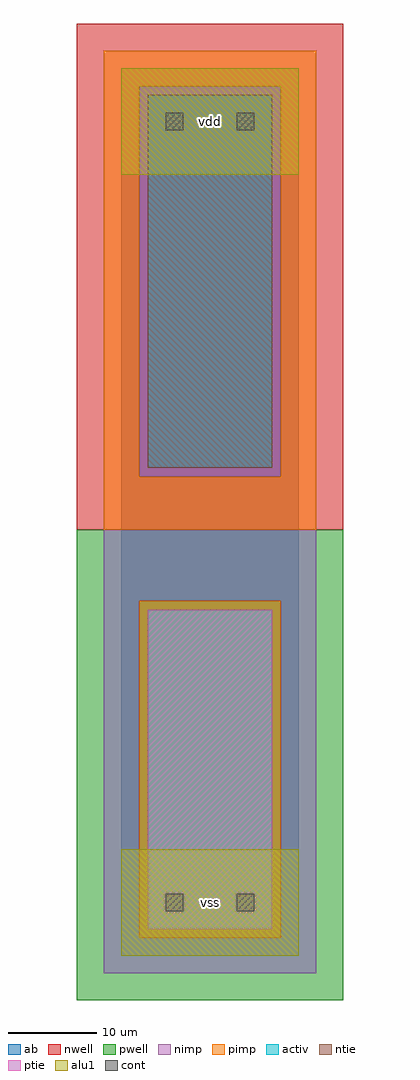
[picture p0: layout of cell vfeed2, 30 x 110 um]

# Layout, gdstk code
import gdstk
lib = gdstk.Library(unit=1e-6, precision=1e-09)
def R(c, l, rs):  # rectangles x0, y0, x1, y1
    for r in rs: c.add(gdstk.rectangle(r[:2], r[2:], *l))
ntie = (5, 0)
ptie = (6, 0)
cont = (25, 0)
pwell = (41, 0)
nwell = (42, 0)
activ = (43, 0)
pimp = (44, 0)
nimp = (45, 0)
alu1 = (49, 0)
ab = (63, 0)

vfeed2 = lib.new_cell('vfeed2')
R(vfeed2, ntie, [(3,55,17,97)])
R(vfeed2, ptie, [(3,3,17,39)])
R(vfeed2, cont, [(5,5,7,7), (13,5,15,7), (5,93,7,95), (13,93,15,95)])
R(vfeed2, pwell, [(-5,-5,25,48)])
R(vfeed2, nwell, [(-5,48,25,105)])
R(vfeed2, activ, [(3,3,17,39), (3,55,17,97)])
R(vfeed2, pimp, [(2,2,18,40), (-2,48,22,54), (-2,54,2,98), (18,54,22,98), (-2,98,22,102)])
R(vfeed2, nimp, [(-2,-2,22,2), (-2,2,2,40), (18,2,22,40), (-2,40,22,48), (2,54,18,98)])
R(vfeed2, alu1, [(0,0,20,12), (0,88,20,100)])
R(vfeed2, ab, [(0,0,20,100)])
vfeed2.add(gdstk.Label('vss', (10,6), layer=49, texttype=0))
vfeed2.add(gdstk.Label('vdd', (10,94), layer=49, texttype=0))

lib.write_gds('vfeed2.gds')
